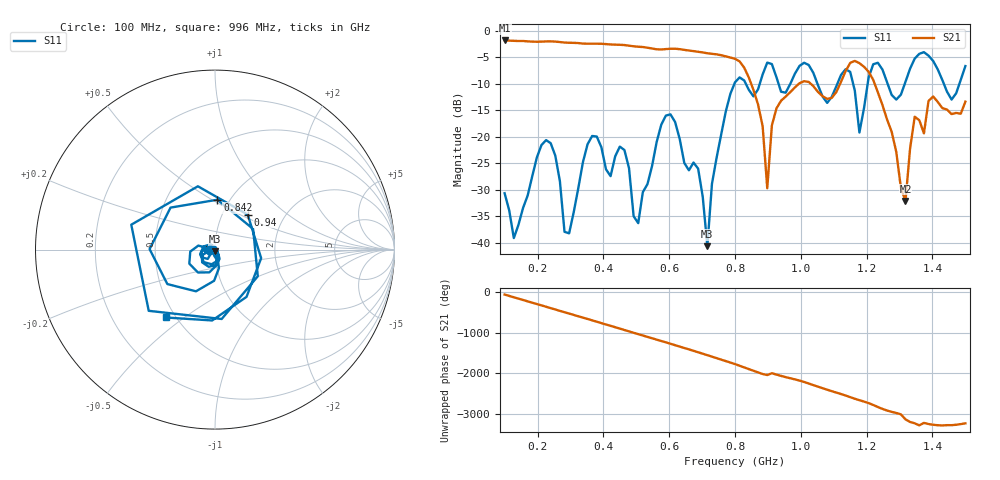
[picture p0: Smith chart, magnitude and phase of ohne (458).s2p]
! NanoVNA-App
! Date: 2025-09-25 14:24:22
! Start: 100MHz Stop: 1,5GHz Points: 101
! S-Parameter data: F S11 S21 S12 S22
# Hz S RI R 50
!  Frequency  S11_Real  S11_Imag  S21_Real  S21_Imag  S12_Real  S12_Imag  S22_Real  S22_Imag
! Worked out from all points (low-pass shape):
!   101 points, 100 MHz to 1.5 GHz, reference 50 ohm
!   highest |S21| = -1.79 dB at 100 MHz (marker M1); lowest = -32.1 dB at 1.318 GHz (marker M2)
!   |S21| within 3 dB of the highest: start of sweep to 771.9 MHz
!   lowest |S11| = -40.6 dB at 716 MHz (marker M3), VSWR 1.02, Z = 49.7 - j0.887 ohm
!   |S11| at or under -10 dB: start of sweep to 798 MHz; 833.2 MHz to 875.1 MHz (41.95 MHz wide, 4.91 % of centre); 1.051 GHz to 1.111 GHz (60.12 MHz wide, 5.56 % of centre) (the widest 3 of 7)
!   S12 and S22 are empty: the file has one direction only
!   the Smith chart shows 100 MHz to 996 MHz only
!   S11 on the Smith chart (normalised r, x): 100 MHz: 0.94, -0.01; 842 MHz: 0.88, +0.53; 940 MHz: 1.31, +0.55; 996 MHz: 0.44, -0.43
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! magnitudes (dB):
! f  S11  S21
! 100 MHz  -30.6  -1.8
! 128 MHz  -39.1  -1.9
! 226 MHz  -20.6  -2.0
! 296 MHz  -38.2  -2.2
! 338 MHz  -24.8  -2.4
! 464 MHz  -22.5  -2.7
! 506 MHz  -36.3  -3.0
! 576 MHz  -17.7  -3.5
! 688 MHz  -26.0  -3.9
! 716 MHz  -40.6  -4.2
! 800 MHz  -9.7  -5.3
! 842 MHz  -11.1  -8.8
! 898 MHz  -6.0  -29.7
! 940 MHz  -11.5  -13.2
! 996 MHz  -6.6  -9.9
! 1.038 GHz  -7.9  -10.4
! 1.178 GHz  -19.2  -6.1
! 1.22 GHz  -6.3  -9.2
! 1.276 GHz  -12.1  -19.0
! 1.318 GHz  -9.6  -32.1
! 1.346 GHz  -5.2  -16.2
! 1.5 GHz  -6.6  -13.3
